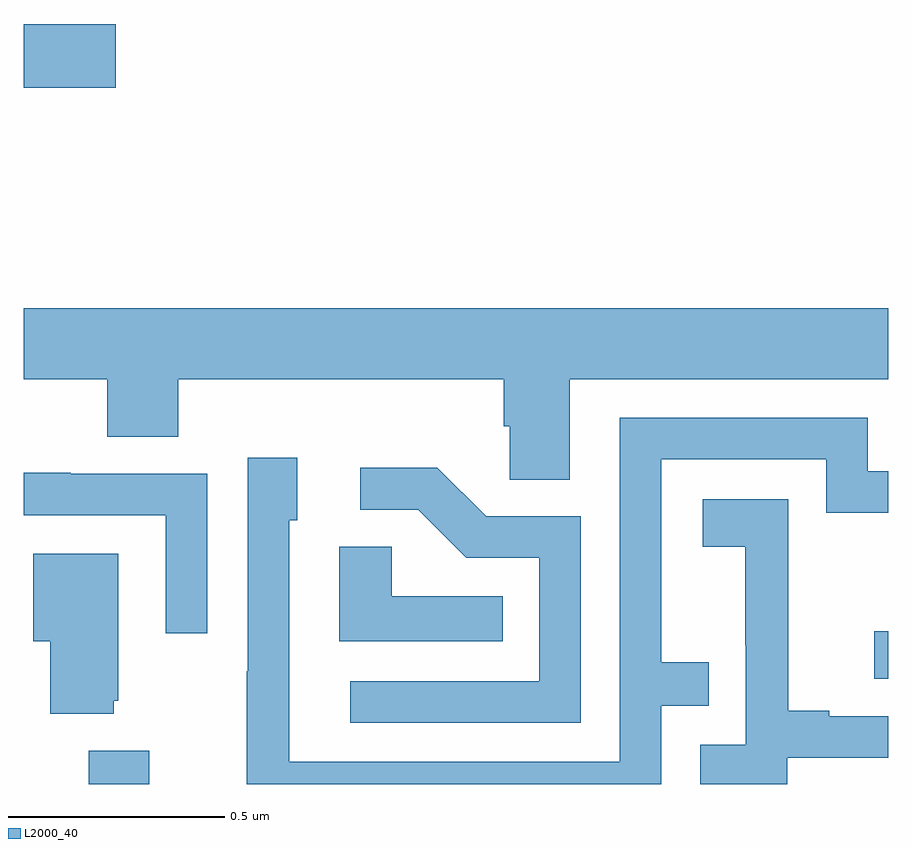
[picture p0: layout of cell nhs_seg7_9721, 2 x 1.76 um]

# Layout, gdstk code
import gdstk
lib = gdstk.Library(unit=1e-6, precision=1e-09)
def R(c, l, rs):  # rectangles x0, y0, x1, y1
    for r in rs: c.add(gdstk.rectangle(r[:2], r[2:], *l))
def P(c, l, *ps):  # polygons
    for p in ps: c.add(gdstk.Polygon(p, *l))
L2000_40 = (2000, 40)

nhs_seg7_9721 = lib.new_cell('nhs_seg7_9721')
R(nhs_seg7_9721, L2000_40, [(241.151,1013,241.291,1013.077), (242.967,1013.244,243,1013.353), (241,1014.611,241.213,1014.758)])
P(nhs_seg7_9721, L2000_40, [(242.263,1013.936),(243,1013.936),(243,1014.1),(241,1014.1),(241,1013.936),(241.193,1013.936),(241.193,1013.803),(241.358,1013.803),(241.358,1013.936),(242.111,1013.936),(242.111,1013.827),(242.124,1013.827),(242.124,1013.704),(242.263,1013.704)],
  [(242.475,1013.181),(242.585,1013.181),(242.585,1013.282),(242.475,1013.282),(242.475,1013.751),(242.856,1013.751),(242.856,1013.628),(243,1013.628),(243,1013.724),(242.953,1013.724),(242.953,1013.847),(242.379,1013.847),(242.379,1013.052),(241.614,1013.052),(241.614,1013.61),(241.633,1013.61),(241.633,1013.755),(241.518,1013.755),(241.518,1013.261),(241.516,1013.261),(241.516,1013),(242.475,1013)],
  [(242.289,1013.619),(242.07,1013.619),(241.957,1013.732),(241.779,1013.732),(241.779,1013.634),(241.913,1013.634),(242.024,1013.523),(242.193,1013.523),(242.193,1013.238),(241.755,1013.238),(241.755,1013.142),(242.289,1013.142)],
  [(241.425,1013.718),(241.109,1013.718),(241.109,1013.72),(241,1013.72),(241,1013.622),(241.329,1013.622),(241.329,1013.349),(241.425,1013.349)],
  [(242.766,1013.061),(243,1013.061),(243,1013.157),(242.863,1013.157),(242.863,1013.17),(242.768,1013.17),(242.768,1013.453),(242.769,1013.453),(242.769,1013.659),(242.571,1013.659),(242.571,1013.549),(242.669,1013.549),(242.669,1013.321),(242.67,1013.321),(242.67,1013.091),(242.565,1013.091),(242.565,1013),(242.766,1013)],
  [(242.108,1013.434),(241.851,1013.434),(241.851,1013.549),(241.73,1013.549),(241.73,1013.33),(242.108,1013.33)],
  [(241.208,1013.193),(241.219,1013.193),(241.219,1013.533),(241.022,1013.533),(241.022,1013.33),(241.061,1013.33),(241.061,1013.162),(241.208,1013.162)])

lib.write_gds('nhs_seg7_9721.gds')
